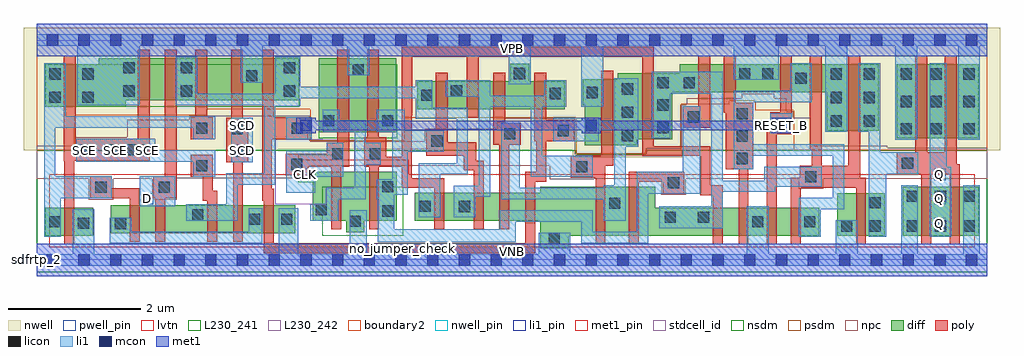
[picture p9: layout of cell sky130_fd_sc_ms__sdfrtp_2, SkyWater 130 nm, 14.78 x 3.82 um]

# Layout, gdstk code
import gdstk
lib = gdstk.Library(unit=1e-6, precision=1e-09)
def R(c, l, rs):  # rectangles x0, y0, x1, y1
    for r in rs: c.add(gdstk.rectangle(r[:2], r[2:], *l))
def A(c, l, x, y, w, h, nx, ny, dx, dy):  # array of equal rectangles
    R(c, l, [(x+i*dx, y+j*dy, x+i*dx+w, y+j*dy+h) for i in range(nx) for j in range(ny)])
def P(c, l, *ps):  # polygons
    for p in ps: c.add(gdstk.Polygon(p, *l))
nwell_pin = (64, 16)
nwell = (64, 20)
diff = (65, 20)
poly = (66, 20)
licon = (66, 44)
li1_pin = (67, 16)
li1 = (67, 20)
mcon = (67, 44)
met1_pin = (68, 16)
met1 = (68, 20)
stdcell_id = (81, 4)
nsdm = (93, 44)
psdm = (94, 20)
npc = (95, 20)
pwell_pin = (122, 16)
lvtn = (125, 44)
L230_241 = (230, 241)
L230_242 = (230, 242)
boundary2 = (236, 0)

sky130_fd_sc_ms__sdfrtp_ = lib.new_cell('sky130_fd_sc_ms__sdfrtp_2')
R(sky130_fd_sc_ms__sdfrtp_, nwell_pin, [(0,3.085,14.4,3.33)])
P(sky130_fd_sc_ms__sdfrtp_, nwell, [(14.59,3.52),(-0.19,3.52),(-0.19,1.66),(3.66,1.66),(3.66,1.675),(6.05,1.675),(6.05,1.66),(8.12,1.66),(8.12,1.555),(9.78,1.555),(9.78,1.66),(14.59,1.66)])
R(sky130_fd_sc_ms__sdfrtp_, diff, [(0.135,0.37,0.855,0.79), (12.125,0.37,12.845,1.01), (13.115,0.37,14.265,1.11), (1.125,0.405,3.915,0.825), (13.025,1.84,14.265,2.96), (4.275,1.935,5.445,3.055)])
P(sky130_fd_sc_ms__sdfrtp_, diff, [(3.975,3.055),(0.945,3.055),(0.945,2.96),(0.135,2.96),(0.135,2.32),(1.35,2.32),(1.35,2.415),(3.975,2.415)],
  [(5.455,1.335),(4.215,1.335),(4.215,1.17),(4.185,1.17),(4.185,0.595),(4.69,0.595),(4.69,0.42),(4.96,0.42),(4.96,0.595),(5.455,0.595)],
  [(8,2.705),(7.465,2.705),(7.465,2.97),(7.17,2.97),(7.17,2.705),(5.765,2.705),(5.765,2.285),(8,2.285)],
  [(11.855,0.79),(9.37,0.79),(9.37,1.11),(7.625,1.11),(7.625,1.015),(5.725,1.015),(5.725,0.595),(7.625,0.595),(7.625,0.18),(8.06,0.18),(8.06,0.37),(11.855,0.37)],
  [(12.755,2.96),(9.74,2.96),(9.74,2.83),(8.805,2.83),(8.805,2.735),(8.27,2.735),(8.27,2.34),(8.3,2.34),(8.3,1.735),(9.095,1.735),(9.095,1.83),(9.625,1.83),(9.625,2.54),(11.965,2.54),(11.965,1.96),(12.755,1.96)])
P(sky130_fd_sc_ms__sdfrtp_, poly, [(1.56,1.085),(1.14,1.085),(1.14,1.265),(0.81,1.265),(0.81,0.935),(1.41,0.935),(1.41,0.275),(1.56,0.275)],
  [(1.715,3.185),(1.535,3.185),(1.535,1.835),(0.595,1.835),(0.595,3.09),(0.415,3.09),(0.415,1.505),(0.42,1.505),(0.42,0.24),(0.57,0.24),(0.57,1.505),(1.715,1.505)],
  [(13.98,1.45),(13.935,1.45),(13.935,3.09),(13.755,3.09),(13.755,1.63),(13.485,1.63),(13.485,3.09),(13.305,3.09),(13.305,1.63),(13.025,1.63),(13.025,1.3),(13.4,1.3),(13.4,0.24),(13.55,0.24),(13.55,1.3),(13.83,1.3),(13.83,0.24),(13.98,0.24)],
  [(10.85,2.38),(10.59,2.38),(10.59,3.09),(10.41,3.09),(10.41,2.23),(10.44,2.23),(10.44,1.37),(10.63,1.37),(10.63,0.24),(10.78,0.24),(10.78,1.37),(10.85,1.37)],
  [(2.125,3.185),(1.945,3.185),(1.945,1.265),(1.77,1.265),(1.77,0.935),(1.8,0.935),(1.8,0.275),(1.95,0.275),(1.95,0.935),(2.125,0.935)],
  [(2.665,2.16),(2.585,2.16),(2.585,3.185),(2.405,3.185),(2.405,2.16),(2.335,2.16),(2.335,1.83),(2.665,1.83)],
  [(2.735,1.05),(2.665,1.05),(2.665,1.59),(2.335,1.59),(2.335,1.26),(2.515,1.26),(2.515,0.9),(2.585,0.9),(2.585,0.275),(2.735,0.275)],
  [(3.205,2.15),(3.125,2.15),(3.125,3.185),(2.945,3.185),(2.945,2.15),(2.875,2.15),(2.875,1.48),(2.975,1.48),(2.975,0.275),(3.125,0.275),(3.125,1.48),(3.205,1.48)],
  [(4.735,3.185),(4.555,3.185),(4.555,1.775),(4.395,1.775),(4.395,1.61),(3.775,1.61),(3.775,1.28),(4.105,1.28),(4.105,1.41),(4.465,1.41),(4.465,0.465),(4.615,0.465),(4.615,1.41),(4.735,1.41)],
  [(6.77,1.505),(6.66,1.505),(6.66,1.785),(6.23,1.785),(6.23,1.965),(6.225,1.965),(6.225,2.835),(6.045,2.835),(6.045,1.965),(5.9,1.965),(5.9,1.58),(6.47,1.58),(6.47,1.355),(6.62,1.355),(6.62,0.465),(6.77,0.465)],
  [(7.33,2.075),(7.095,2.075),(7.095,2.835),(6.915,2.835),(6.915,1.745),(7.01,1.745),(7.01,0.465),(7.16,0.465),(7.16,1.745),(7.33,1.745)],
  [(8.14,2.125),(7.72,2.125),(7.72,2.835),(7.54,2.835),(7.54,1.795),(7.57,1.795),(7.57,1.335),(7.4,1.335),(7.4,0.255),(3.59,0.255),(3.59,1.075),(3.565,1.075),(3.565,1.83),(4.115,1.83),(4.115,2.16),(3.595,2.16),(3.595,3.185),(3.415,3.185),(3.415,0.9),(3.44,0.9),(3.44,0.105),(7.55,0.105),(7.55,1.185),(7.72,1.185),(7.72,1.795),(8.14,1.795)],
  [(8.73,2.865),(8.55,2.865),(8.55,1.575),(8.09,1.575),(8.09,1.245),(8.465,1.245),(8.465,0.24),(8.615,0.24),(8.615,1.425),(8.73,1.425)],
  [(9.81,1.335),(8.97,1.335),(8.97,0.24),(9.12,0.24),(9.12,1.185),(9.48,1.185),(9.48,1.005),(9.81,1.005)],
  [(10.2,3.09),(10.02,3.09),(10.02,2.33),(9.785,2.33),(9.785,2),(10.2,2)],
  [(10.39,1.13),(10.2,1.13),(10.2,1.725),(9.35,1.725),(9.35,3.225),(5.53,3.225),(5.53,1.56),(5.295,1.56),(5.295,1.86),(5.185,1.86),(5.185,3.185),(5.005,3.185),(5.005,1.86),(4.965,1.86),(4.965,1.41),(5.035,1.41),(5.035,0.465),(5.185,0.465),(5.185,1.41),(5.53,1.41),(5.53,1.09),(6.025,1.09),(6.025,0.465),(6.175,0.465),(6.175,1.24),(5.68,1.24),(5.68,2.195),(5.69,2.195),(5.69,3.075),(6.515,3.075),(6.515,2.155),(6.695,2.155),(6.695,3.075),(9.17,3.075),(9.17,1.575),(10.05,1.575),(10.05,0.98),(10.24,0.98),(10.24,0.24),(10.39,0.24)],
  [(12.56,1.245),(12.475,1.245),(12.475,3.09),(12.295,3.09),(12.295,1.425),(11.89,1.425),(11.89,3.09),(11.71,3.09),(11.71,1.665),(11.74,1.665),(11.74,1.425),(11.56,1.425),(11.56,1.245),(11.42,1.245),(11.42,0.24),(11.57,0.24),(11.57,1.095),(12.41,1.095),(12.41,0.24),(12.56,0.24)],
  [(11.44,3.09),(11.26,3.09),(11.26,2.235),(11.11,2.235),(11.11,2.055),(11.06,2.055),(11.06,0.24),(11.21,0.24),(11.21,1.905),(11.44,1.905)])
A(sky130_fd_sc_ms__sdfrtp_, licon, 13.175, 0.43, 0.17, 0.17, 3, 2, 0.43, 0.45)
A(sky130_fd_sc_ms__sdfrtp_, licon, 10.6, 1.45, 0.17, 0.17, 1, 3, 0, 0.34)
A(sky130_fd_sc_ms__sdfrtp_, licon, 0.685, 1.585, 0.17, 0.17, 3, 1, 0.34, 0)
A(sky130_fd_sc_ms__sdfrtp_, licon, 8.865, 1.795, 0.17, 0.17, 1, 3, 0, 0.355)
A(sky130_fd_sc_ms__sdfrtp_, licon, 13.085, 1.9, 0.17, 0.17, 1, 3, 0, 0.415)
A(sky130_fd_sc_ms__sdfrtp_, licon, 13.535, 1.9, 0.17, 0.17, 1, 3, 0, 0.415)
A(sky130_fd_sc_ms__sdfrtp_, licon, 14.035, 1.9, 0.17, 0.17, 1, 3, 0, 0.415)
A(sky130_fd_sc_ms__sdfrtp_, licon, 9.4, 1.92, 0.17, 0.17, 1, 3, 0, 0.34)
A(sky130_fd_sc_ms__sdfrtp_, licon, 12.025, 2.02, 0.17, 0.17, 1, 3, 0, 0.355)
A(sky130_fd_sc_ms__sdfrtp_, licon, 12.525, 2.02, 0.17, 0.17, 1, 3, 0, 0.355)
R(sky130_fd_sc_ms__sdfrtp_, licon, [(7.755,0.24,7.925,0.41), (12.185,0.43,12.355,0.6), (12.615,0.43,12.785,0.6), (1.185,0.465,1.355,0.635), (0.625,0.47,0.795,0.64), (0.195,0.495,0.365,0.665), (10.835,0.495,11.005,0.665), (11.625,0.495,11.795,0.665), (4.74,0.5,4.91,0.67), (3.215,0.53,3.385,0.7), (3.705,0.53,3.875,0.7), (9.51,0.56,9.68,0.73), (10.015,0.56,10.185,0.73), (2.355,0.595,2.525,0.765), (5.235,0.655,5.405,0.825), (4.225,0.675,4.395,0.845), (6.395,0.725,6.565,0.895), (5.8,0.73,5.97,0.9), (8.67,0.775,8.84,0.945), (12.615,0.78,12.785,0.95), (0.89,1.015,1.06,1.185), (1.85,1.015,2.02,1.185), (5.235,1.025,5.405,1.195), (9.56,1.085,9.73,1.255), (11.64,1.175,11.81,1.345), (8.17,1.325,8.34,1.495), (2.415,1.34,2.585,1.51), (3.855,1.36,4.025,1.53), (13.105,1.38,13.275,1.55), (4.475,1.525,4.645,1.695), (5.045,1.525,5.215,1.695), (2.955,1.56,3.125,1.73), (5.98,1.715,6.15,1.885), (7.08,1.825,7.25,1.995), (7.89,1.875,8.06,2.045), (2.955,1.9,3.125,2.07), (2.415,1.91,2.585,2.08), (3.865,1.91,4.035,2.08), (11.19,1.985,11.36,2.155), (4.335,2.025,4.505,2.195), (5.235,2.025,5.405,2.195), (9.865,2.08,10.035,2.25), (0.195,2.38,0.365,2.55), (0.695,2.38,0.865,2.55), (5.825,2.41,5.995,2.58), (7.77,2.435,7.94,2.605), (8.33,2.45,8.5,2.62), (1.315,2.475,1.485,2.645), (2.185,2.475,2.355,2.645), (3.745,2.475,3.915,2.645), (6.275,2.475,6.445,2.645), (9.8,2.6,9.97,2.77), (11.49,2.665,11.66,2.835), (3.175,2.705,3.345,2.875), (0.195,2.73,0.365,2.9), (0.695,2.73,0.865,2.9), (10.64,2.73,10.81,2.9), (10.99,2.73,11.16,2.9), (7.23,2.74,7.4,2.91), (4.785,2.795,4.955,2.965), (1.315,2.825,1.485,2.995), (2.185,2.825,2.355,2.995), (3.745,2.825,3.915,2.995)])
A(sky130_fd_sc_ms__sdfrtp_, li1_pin, 13.595, 0.47, 0.17, 0.17, 1, 3, 0, 0.37)
A(sky130_fd_sc_ms__sdfrtp_, li1_pin, 0.635, 1.58, 0.17, 0.17, 3, 1, 0.48, 0)
R(sky130_fd_sc_ms__sdfrtp_, li1_pin, [(1.595,0.84,1.765,1.01), (3.995,1.21,4.165,1.38), (3.035,1.58,3.205,1.75), (3.035,1.95,3.205,2.12)])
R(sky130_fd_sc_ms__sdfrtp_, li1, [(1.565,0.81,2.1,1.265), (2.945,1.48,3.275,2.15), (7.825,1.795,8.515,2.15), (3.785,1.83,4.165,2.16), (11.11,1.92,11.44,2.22)])
P(sky130_fd_sc_ms__sdfrtp_, li1, [(14.4,0.085),(14.285,0.085),(14.285,1.13),(14.035,1.13),(14.035,0.085),(13.345,0.085),(13.345,1.13),(13.095,1.13),(13.095,0.085),(12.435,0.085),(12.435,0.6),(12.105,0.6),(12.105,0.085),(11.085,0.085),(11.085,0.81),(10.755,0.81),(10.755,0.085),(8.08,0.085),(8.08,0.41),(7.605,0.41),(7.605,0.085),(5,0.085),(5,0.75),(4.74,0.75),(4.74,0.085),(3.965,0.085),(3.965,0.78),(3.665,0.78),(3.665,0.085),(0.875,0.085),(0.875,0.765),(0.545,0.765),(0.545,0.085),(0,0.085),(0,-0.085),(14.4,-0.085)],
  [(14.4,3.415),(0,3.415),(0,3.245),(0.615,3.245),(0.615,2.345),(1.565,2.345),(1.565,3.245),(3.095,3.245),(3.095,2.685),(3.425,2.685),(3.425,3.245),(4.705,3.245),(4.705,2.795),(5.035,2.795),(5.035,3.245),(7.15,3.245),(7.15,2.66),(7.485,2.66),(7.485,3.245),(8.25,3.245),(8.25,2.32),(8.58,2.32),(8.58,3.245),(10.56,3.245),(10.56,2.73),(11.24,2.73),(11.24,3.245),(11.945,3.245),(11.945,1.94),(12.275,1.94),(12.275,3.245),(13.005,3.245),(13.005,1.82),(13.335,1.82),(13.335,3.245),(13.955,3.245),(13.955,1.82),(14.285,1.82),(14.285,3.245),(14.4,3.245)],
  [(2.705,2.175),(0.445,2.175),(0.445,2.98),(0.115,2.98),(0.115,0.35),(0.365,0.35),(0.365,0.935),(1.14,0.935),(1.14,1.265),(0.285,1.265),(0.285,2.005),(2.375,2.005),(2.375,1.83),(2.705,1.83)],
  [(2.705,1.66),(1.795,1.66),(1.795,1.835),(0.605,1.835),(0.605,1.49),(2.375,1.49),(2.375,1.26),(2.705,1.26)],
  [(3.415,0.78),(3.215,0.78),(3.215,0.425),(1.435,0.425),(1.435,0.64),(1.105,0.64),(1.105,0.255),(3.415,0.255)],
  [(4.645,1.775),(4.395,1.775),(4.395,1.65),(3.785,1.65),(3.785,1.015),(4.22,1.015),(4.22,1.26),(4.645,1.26)],
  [(5.215,1.775),(4.985,1.775),(4.985,2.115),(4.585,2.115),(4.585,2.275),(4.335,2.275),(4.335,1.945),(4.815,1.945),(4.815,1.09),(4.39,1.09),(4.39,0.845),(4.145,0.845),(4.145,0.595),(4.57,0.595),(4.57,0.92),(4.985,0.92),(4.985,1.445),(5.215,1.445)],
  [(6.53,2.305),(5.995,2.305),(5.995,2.725),(5.745,2.725),(5.745,2.625),(3.995,2.625),(3.995,3.075),(3.615,3.075),(3.615,2.515),(2.435,2.515),(2.435,3.075),(2.105,3.075),(2.105,2.345),(3.445,2.345),(3.445,1.31),(2.875,1.31),(2.875,0.845),(2.27,0.845),(2.27,0.595),(3.045,0.595),(3.045,1.14),(3.615,1.14),(3.615,2.33),(3.995,2.33),(3.995,2.445),(5.745,2.445),(5.745,2.135),(6.36,2.135),(6.36,1.465),(5.79,1.465),(5.79,0.65),(6.115,0.65),(6.115,1.295),(6.53,1.295)],
  [(8.42,1.575),(7.655,1.575),(7.655,2.32),(8.02,2.32),(8.02,2.725),(7.69,2.725),(7.69,2.49),(6.87,2.49),(6.87,2.725),(6.195,2.725),(6.195,2.475),(6.7,2.475),(6.7,1.125),(6.315,1.125),(6.315,0.645),(6.645,0.645),(6.645,0.955),(6.87,0.955),(6.87,2.32),(7.485,2.32),(7.485,1.26),(8.42,1.26)],
  [(9.115,2.755),(8.75,2.755),(8.75,1.13),(8.59,1.13),(8.59,1.09),(7.315,1.09),(7.315,2.075),(7.04,2.075),(7.04,0.92),(8.59,0.92),(8.59,0.595),(8.92,0.595),(8.92,1.715),(9.115,1.715)],
  [(10.05,2.33),(9.785,2.33),(9.785,1.335),(9.09,1.335),(9.09,0.425),(8.42,0.425),(8.42,0.75),(7.015,0.75),(7.015,0.465),(5.42,0.465),(5.42,0.985),(5.62,0.985),(5.62,1.635),(6.165,1.635),(6.165,1.965),(5.575,1.965),(5.575,2.275),(5.155,2.275),(5.155,1.945),(5.385,1.945),(5.385,1.22),(5.155,1.22),(5.155,0.92),(5.17,0.92),(5.17,0.265),(7.255,0.265),(7.255,0.58),(8.25,0.58),(8.25,0.255),(9.26,0.255),(9.26,1.005),(10.05,1.005)],
  [(11.89,1.41),(11.02,1.41),(11.02,1.2),(10.39,1.2),(10.39,2.85),(9.32,2.85),(9.32,1.84),(9.6,1.84),(9.6,2.52),(10.22,2.52),(10.22,0.81),(9.43,0.81),(9.43,0.48),(10.39,0.48),(10.39,1.03),(11.19,1.03),(11.19,1.11),(11.89,1.11)],
  [(12.23,1.75),(10.85,1.75),(10.85,2.39),(11.74,2.39),(11.74,2.98),(11.41,2.98),(11.41,2.56),(10.56,2.56),(10.56,1.37),(10.85,1.37),(10.85,1.58),(12.06,1.58),(12.06,0.94),(11.545,0.94),(11.545,0.35),(11.875,0.35),(11.875,0.77),(12.23,0.77)],
  [(13.355,1.63),(12.775,1.63),(12.775,2.98),(12.445,2.98),(12.445,1.94),(12.605,1.94),(12.605,0.35),(12.865,0.35),(12.865,1.3),(13.355,1.3)],
  [(13.855,1.41),(13.785,1.41),(13.785,2.98),(13.525,2.98),(13.525,0.35),(13.855,0.35)])
A(sky130_fd_sc_ms__sdfrtp_, mcon, 0.155, -0.085, 0.17, 0.17, 30, 2, 0.48, 3.33)
R(sky130_fd_sc_ms__sdfrtp_, mcon, [(3.995,1.95,4.165,2.12), (8.315,1.95,8.485,2.12), (11.195,1.95,11.365,2.12)])
R(sky130_fd_sc_ms__sdfrtp_, met1_pin, [(0,0,14.4,0.245), (11.195,1.95,11.365,2.12), (0,3.085,14.4,3.33)])
R(sky130_fd_sc_ms__sdfrtp_, met1, [(0,-0.245,14.4,0.245), (0,3.085,14.4,3.575)])
P(sky130_fd_sc_ms__sdfrtp_, met1, [(11.425,2.15),(11.135,2.15),(11.135,2.105),(8.545,2.105),(8.545,2.15),(8.255,2.15),(8.255,2.105),(4.225,2.105),(4.225,2.15),(3.935,2.15),(3.935,1.92),(4.225,1.92),(4.225,1.965),(8.255,1.965),(8.255,1.92),(8.545,1.92),(8.545,1.965),(11.135,1.965),(11.135,1.92),(11.425,1.92)])
R(sky130_fd_sc_ms__sdfrtp_, stdcell_id, [(0,0,14.4,3.33)])
P(sky130_fd_sc_ms__sdfrtp_, nsdm, [(14.4,1.66),(9.225,1.66),(9.225,1.605),(8.17,1.605),(8.17,1.66),(0,1.66),(0,-0.19),(14.4,-0.19)])
P(sky130_fd_sc_ms__sdfrtp_, psdm, [(14.4,3.52),(0,3.52),(0,1.66),(0.575,1.66),(0.575,2.19),(2.58,2.19),(2.58,2.285),(4.145,2.285),(4.145,1.805),(5.575,1.805),(5.575,2.155),(8.17,2.155),(8.17,1.605),(9.225,1.605),(9.225,1.66),(9.755,1.66),(9.755,2.36),(10.49,2.36),(10.49,2.41),(10.88,2.41),(10.88,2.265),(11.47,2.265),(11.47,1.66),(14.4,1.66)])
P(sky130_fd_sc_ms__sdfrtp_, npc, [(14.4,1.7),(12.885,1.7),(12.885,1.73),(11.725,1.73),(11.725,2.15),(11.46,2.15),(11.46,2.255),(11.355,2.255),(11.355,2.45),(11.17,2.45),(11.17,2.52),(10.68,2.52),(10.68,2.45),(9.845,2.45),(9.845,2.35),(9.765,2.35),(9.765,1.69),(9.235,1.69),(9.235,1.595),(8.16,1.595),(8.16,2.145),(7.085,2.145),(7.085,2.095),(6.98,2.095),(6.98,1.985),(5.88,1.985),(5.88,1.795),(4.135,1.795),(4.135,2.18),(2.315,2.18),(2.315,2.12),(1.37,2.12),(1.37,1.855),(0.585,1.855),(0.585,1.73),(0,1.73),(0,1.23),(0.79,1.23),(0.79,0.915),(1.16,0.915),(1.16,1.23),(1.75,1.23),(1.75,0.915),(2.12,0.915),(2.12,1.24),(4.125,1.24),(4.125,1.425),(7.775,1.425),(7.775,1.225),(8.44,1.225),(8.44,1.23),(9.46,1.23),(9.46,0.985),(9.83,0.985),(9.83,1.23),(11.54,1.23),(11.54,1.075),(11.91,1.075),(11.91,1.23),(14.4,1.23)])
R(sky130_fd_sc_ms__sdfrtp_, pwell_pin, [(0,0,14.4,0.245)])
P(sky130_fd_sc_ms__sdfrtp_, lvtn, [(14.21,1.3),(5.635,1.3),(5.635,1.515),(4.005,1.515),(4.005,1.3),(0.19,1.3),(0.19,0.19),(14.21,0.19)])
R(sky130_fd_sc_ms__sdfrtp_, L230_241, [(4.33,0.37,5.55,1.11), (2.945,1.48,3.275,2.15), (4.275,1.84,5.465,2.96), (0.135,2.32,3.975,2.96)])
P(sky130_fd_sc_ms__sdfrtp_, L230_241, [(4.645,1.59),(3.965,1.59),(3.965,1.18),(4.195,1.18),(4.195,1.26),(4.645,1.26)])
P(sky130_fd_sc_ms__sdfrtp_, L230_242, [(4.815,1.82),(4.335,1.82),(4.335,1.83),(3.615,1.83),(3.615,0.845),(4.39,0.845),(4.39,1.09),(4.815,1.09)],
  [(7.55,0.56),(7.4,0.56),(7.4,0.255),(3.59,0.255),(3.59,0.265),(3.44,0.265),(3.44,0.105),(7.55,0.105)])
R(sky130_fd_sc_ms__sdfrtp_, boundary2, [(0,0,14.4,3.33)])
sky130_fd_sc_ms__sdfrtp_.add(gdstk.Label('VNB', (7.2,0.123), layer=64, texttype=59))
sky130_fd_sc_ms__sdfrtp_.add(gdstk.Label('VPB', (7.2,3.208), layer=64, texttype=5))
sky130_fd_sc_ms__sdfrtp_.add(gdstk.Label('sdfrtp_2', (0,0), layer=83, texttype=44))
sky130_fd_sc_ms__sdfrtp_.add(gdstk.Label('no_jumper_check', (7.405,3.15), layer=83, texttype=44))
sky130_fd_sc_ms__sdfrtp_.add(gdstk.Label('no_jumper_check', (5.535,0.18), layer=83, texttype=44))
sky130_fd_sc_ms__sdfrtp_.add(gdstk.Label('RESET_B', (11.28,2.035), layer=68, texttype=5))
sky130_fd_sc_ms__sdfrtp_.add(gdstk.Label('VPWR', (7.2,3.208), layer=68, texttype=5))
sky130_fd_sc_ms__sdfrtp_.add(gdstk.Label('VGND', (7.2,0.123), layer=68, texttype=5))
sky130_fd_sc_ms__sdfrtp_.add(gdstk.Label('D', (1.68,0.925), layer=67, texttype=5))
sky130_fd_sc_ms__sdfrtp_.add(gdstk.Label('SCE', (0.72,1.665), layer=67, texttype=5))
sky130_fd_sc_ms__sdfrtp_.add(gdstk.Label('SCE', (1.2,1.665), layer=67, texttype=5))
sky130_fd_sc_ms__sdfrtp_.add(gdstk.Label('SCE', (1.68,1.665), layer=67, texttype=5))
sky130_fd_sc_ms__sdfrtp_.add(gdstk.Label('SCD', (3.12,1.665), layer=67, texttype=5))
sky130_fd_sc_ms__sdfrtp_.add(gdstk.Label('SCD', (3.12,2.035), layer=67, texttype=5))
sky130_fd_sc_ms__sdfrtp_.add(gdstk.Label('CLK', (4.08,1.295), layer=67, texttype=5))
sky130_fd_sc_ms__sdfrtp_.add(gdstk.Label('Q', (13.68,0.555), layer=67, texttype=5))
sky130_fd_sc_ms__sdfrtp_.add(gdstk.Label('Q', (13.68,0.925), layer=67, texttype=5))
sky130_fd_sc_ms__sdfrtp_.add(gdstk.Label('Q', (13.68,1.295), layer=67, texttype=5))

lib.write_gds('sky130_fd_sc_ms__sdfrtp_2.gds')
